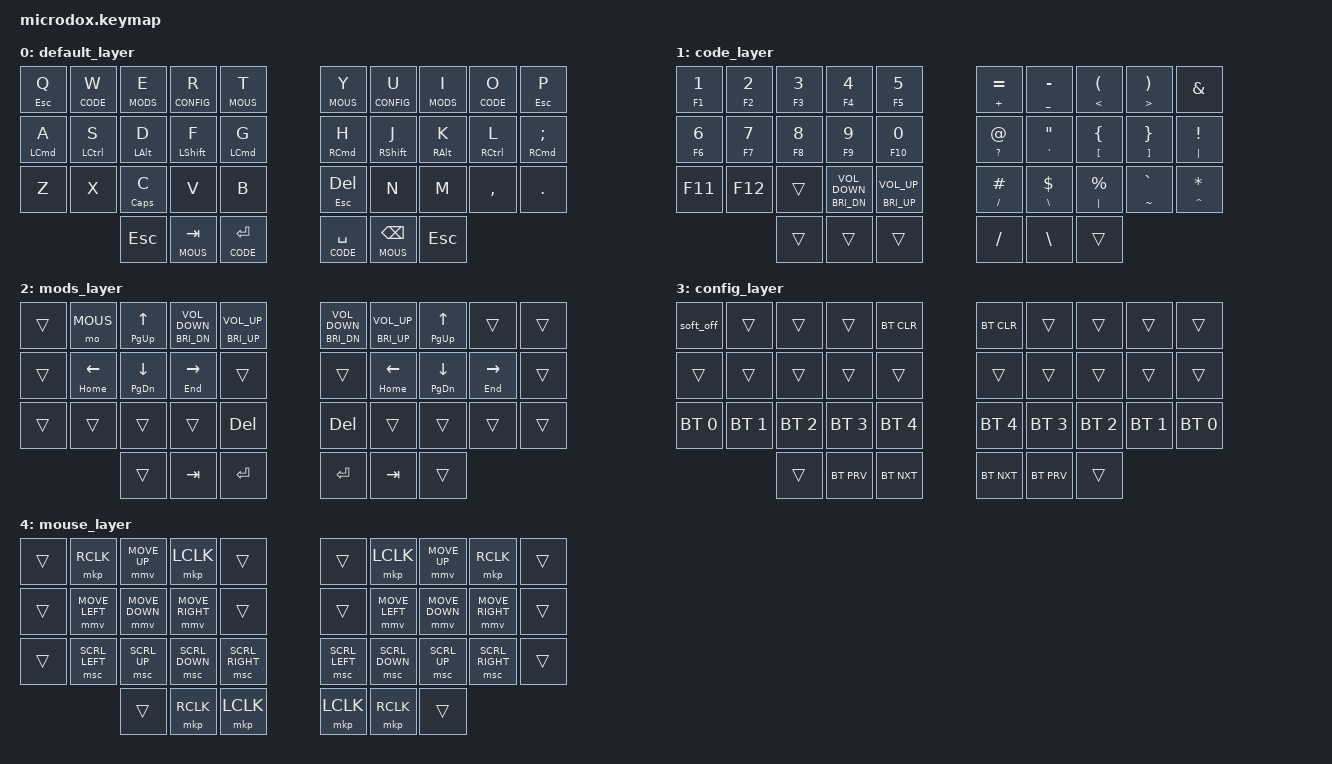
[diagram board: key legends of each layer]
/*
 * Copyright (c) 2020 The ZMK Contributors
 *
 * SPDX-License-Identifier: MIT
 */

#include <behaviors.dtsi>
#include <dt-bindings/zmk/keys.h>
#include <dt-bindings/zmk/bt.h>
#include <dt-bindings/zmk/pointing.h>

#define ZMK_POINTING_DEFAULT_MOVE_VAL 1200  // default: 600
#define ZMK_POINTING_DEFAULT_SCRL_VAL 20    // default: 10


#define DEFAULT        0
#define CODE           1
#define MODS           2
#define CONFIG         3
#define MOUS           4

/ {
        keymap {
                compatible = "zmk,keymap";

                default_layer {
                        bindings = <
                                &rpi_fast ESCAPE Q   &rpi_lyr CODE W       &rpi_lyr MODS E    &rpi_lyr_slow CONFIG R    &rpi_lyr MOUS T                             &rpi_lyr MOUS Y          &rpi_lyr_slow CONFIG U    &rpi_lyr MODS I    &rpi_lyr CODE O      &rpi ESCAPE P      
                                &rpi LCMD A          &rpi LCTRL S          &rpi LALT D        &rpi LSHIFT F             &rpi LCMD G                                 &rpi RCMD H              &rpi RSHIFT J             &rpi RALT K        &rpi RCTRL L         &rpi RCMD SEMI
                                &kp Z                &kp X                 &rpi CAPSLOCK C    &kp V                     &kp B                                       &rpi_slow ESCAPE DEL     &kp N                     &kp M              &kp COMMA            &kp DOT      
                                                                           &kp ESCAPE         &rpi_lyr MOUS TAB         &rpi_lyr CODE RET                           &rpi_lyr CODE SPACE      &rpi_lyr MOUS BSPC        &kp ESCAPE
                        >;
                };

                code_layer {
                        bindings = <
                                   &rpi_slow F1 N1   &rpi_slow F2 N2   &rpi_slow F3 N3    &rpi_slow F4 N4                   &rpi_slow F5 N5                                          &rpi_fast PLUS EQUAL   &rpi_fast UNDER MINUS     &rpi_fast LT LPAR      &rpi_fast GT RPAR        &kp AMPS 
                                   &rpi_slow F6 N6   &rpi_slow F7 N7   &rpi_slow F8 N8    &rpi_slow F9 N9                   &rpi_slow F10 N0                                         &rpi_fast QMARK AT     &rpi_fast SQT DQT         &rpi_fast LBKT LBRC    &rpi_fast RBKT RBRC      &rpi_fast PIPE EXCL
                                   &kp F11           &kp F12           &trans             &rpi_fast C_BRI_DN C_VOLUME_DOWN  &rpi_fast C_BRI_UP C_VOLUME_UP                           &rpi_fast SLASH HASH   &rpi_fast BSLH DOLLAR     &rpi_fast PIPE PRCNT   &rpi_fast TILDE GRAVE    &rpi_fast CARET ASTRK
                                                                       &trans             &trans                            &trans                                                   &kp SLASH              &kp BSLH				  &trans
                        >;
                };

                mods_layer {
                        bindings = <
                                   &trans          &mo MOUS                  &rpi_slow PAGE_UP UP        &rpi_slow C_BRI_DN C_VOLUME_DOWN  &rpi_slow C_BRI_UP C_VOLUME_UP        &rpi_slow C_BRI_DN C_VOLUME_DOWN   &rpi_slow C_BRI_UP  C_VOLUME_UP    &rpi_slow PAGE_UP UP        &trans                  &trans 
                                   &trans          &rpi_slow HOME LEFT       &rpi_slow PAGE_DOWN DOWN    &rpi_slow END RIGHT               &trans                                &trans                             &rpi_slow HOME LEFT                &rpi_slow PAGE_DOWN DOWN    &rpi_slow END RIGHT     &trans
                                   &trans          &trans                    &trans                      &trans                            &kp DEL                               &kp DEL                            &trans                             &trans                      &trans                  &trans
                                                                             &trans                      &kp TAB                           &kp RET                               &kp RET                            &kp TAB							   &trans
                        >;
                };

                config_layer {
                        bindings = <
                                   &soft_off               &trans            &trans            &trans          &bt BT_CLR                           &bt BT_CLR      &trans            &trans            &trans         &trans 
                                   &trans                  &trans            &trans            &trans          &trans                               &trans          &trans            &trans            &trans         &trans
                                   &bt BT_SEL 0            &bt BT_SEL 1      &bt BT_SEL 2      &bt BT_SEL 3    &bt BT_SEL 4                         &bt BT_SEL 4    &bt BT_SEL 3      &bt BT_SEL 2      &bt BT_SEL 1   &bt BT_SEL 0
                                                                         	 &trans            &bt BT_PRV      &bt BT_NXT                           &bt BT_NXT      &bt BT_PRV		  &trans
                        >;
                };

                mouse_layer {
                        bindings = <
                                   &trans            &mkp RCLK           &mmv MOVE_UP       &mkp LCLK           &trans                       &trans             &mkp LCLK         &mmv MOVE_UP        &mkp RCLK         &trans 
                                   &trans            &mmv MOVE_LEFT      &mmv MOVE_DOWN     &mmv MOVE_RIGHT     &trans                       &trans             &mmv MOVE_LEFT    &mmv MOVE_DOWN      &mmv MOVE_RIGHT   &trans
                                   &trans            &msc SCRL_LEFT      &msc SCRL_UP       &msc SCRL_DOWN      &msc SCRL_RIGHT              &msc SCRL_LEFT     &msc SCRL_DOWN    &msc SCRL_UP        &msc SCRL_RIGHT   &trans
                                                                         &trans             &mkp RCLK           &mkp LCLK                    &mkp LCLK  		&mkp RCLK		  &trans
                        >;
                };
        };

        behaviors {
                rpi_p: rpi_p {
                    compatible = "zmk,behavior-hold-tap";
                    #binding-cells = <2>;
                    flavor = "tap-preferred";
                    tapping-term-ms = <250>;
                    quick-tap-ms = <250>;
                    require-prior-idle-ms = <0>;
                    bindings = <&kp>, <&kp>;
                };
                rpi: rpi {
                    compatible = "zmk,behavior-hold-tap";
                    #binding-cells = <2>;
                    flavor = "tap-preferred";
                    tapping-term-ms = <250>;
                    quick-tap-ms = <250>;
                    require-prior-idle-ms = <0>;
                    bindings = <&kp>, <&kp>;
                };

                rpi_fast: rpi_fast {
                    compatible = "zmk,behavior-hold-tap";
                    #binding-cells = <2>;
                    flavor = "tap-preferred";
                    tapping-term-ms = <170>;
                    quick-tap-ms = <250>;
                    require-prior-idle-ms = <0>;
                    bindings = <&kp>, <&kp>;
                };

                rpi_slow: rpi_slow {
                    compatible = "zmk,behavior-hold-tap";
                    #binding-cells = <2>;
                    flavor = "tap-preferred";
                    tapping-term-ms = <350>;
                    quick-tap-ms = <250>;
                    require-prior-idle-ms = <0>;
                    bindings = <&kp>, <&kp>;
                };

                rpi_lyr: rpi_lyr {
                    compatible = "zmk,behavior-hold-tap";
                    #binding-cells = <2>;
                    flavor = "tap-preferred";
                    tapping-term-ms = <250>;
                    quick-tap-ms = <250>;
                    require-prior-idle-ms = <0>;
                    bindings = <&mo>, <&kp>;
                };

                rpi_lyr_slow: rpi_lyr_slow {
                    compatible = "zmk,behavior-hold-tap";
                    #binding-cells = <2>;
                    flavor = "tap-preferred";
                    tapping-term-ms = <400>;
                    quick-tap-ms = <250>;
                    require-prior-idle-ms = <0>;
                    bindings = <&mo>, <&kp>;
                };
        };


};
